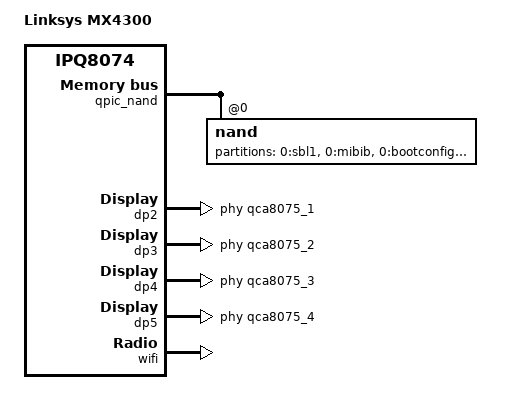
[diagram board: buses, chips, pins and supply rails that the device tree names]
// SPDX-License-Identifier: GPL-2.0-or-later OR MIT

/dts-v1/;

#include "ipq8174-mx4x00.dtsi"

/ {
	model = "Linksys MX4300";
	compatible = "linksys,mx4300", "qcom,ipq8074";

	chosen {
		/*
		In the kernel command line, replace the first occurence of bootargs-find-X with bootargs-replace-X.
		If bootargs-exact-match-X is set to "y", then replacement happens only if the kernel command line
		is identical to bootargs-find-X.
		*/
		bootargs-find-1 = "ubi.mtd=22,2048";
		bootargs-replace-1 = "ubi.mtd=22,4096";

		bootargs-find-2 = "ubi.mtd=24,2048";
		bootargs-replace-2 = "ubi.mtd=24,4096";
	};

	aliases {
		label-mac-device = &dp2;
	};
};

&qpic_nand {
	status = "okay";

	partitions {
		status = "disabled";
	};

	nand@0 {
		reg = <0>;

		nand-ecc-strength = <4>;
		nand-ecc-step-size = <512>;
		nand-bus-width = <8>;

		partitions {
			compatible = "fixed-partitions";
			#address-cells = <1>;
			#size-cells = <1>;

			partition@0 {
				label = "0:sbl1";
				reg = <0x00000000 0x00100000>;
				read-only;
			};

			partition@100000 {
				label = "0:mibib";
				reg = <0x00100000 0x00100000>;
				read-only;
			};

			partition@200000 {
				label = "0:bootconfig";
				reg = <0x00200000 0x00080000>;
				read-only;
			};

			partition@280000 {
				label = "0:bootconfig1";
				reg = <0x00280000 0x00080000>;
				read-only;
			};

			partition@300000 {
				label = "0:qsee";
				reg = <0x00300000 0x00300000>;
				read-only;
			};

			partition@600000 {
				label = "0:qsee_1";
				reg = <0x00600000 0x00300000>;
				read-only;
			};

			partition@900000 {
				label = "0:devcfg";
				reg = <0x00900000 0x00080000>;
				read-only;
			};

			partition@980000 {
				label = "0:devcfg_1";
				reg = <0x00980000 0x00080000>;
				read-only;
			};

			partition@a00000 {
				label = "0:apdp";
				reg = <0x00a00000 0x00080000>;
				read-only;
			};

			partition@a80000 {
				label = "0:apdp_1";
				reg = <0x00a80000 0x00080000>;
				read-only;
			};

			partition@b00000 {
				label = "0:rpm";
				reg = <0x00b00000 0x00080000>;
				read-only;
			};

			partition@b80000 {
				label = "0:rpm_1";
				reg = <0x00b80000 0x00080000>;
				read-only;
			};

			partition@c00000 {
				label = "0:cdt";
				reg = <0x00c00000 0x00080000>;
				read-only;
			};

			partition@c80000 {
				label = "0:cdt_1";
				reg = <0x00c80000 0x00080000>;
				read-only;
			};

			partition@d00000 {
				label = "0:appsblenv";
				reg = <0x00d00000 0x00080000>;
			};

			partition@d80000 {
				label = "0:appsbl";
				reg = <0x00d80000 0x00100000>;
				read-only;
			};

			partition@e80000 {
				label = "0:appsbl_1";
				reg = <0x00e80000 0x00100000>;
				read-only;
			};

			partition@f80000 {
				label = "0:art";
				reg = <0x00f80000 0x00080000>;
				read-only;
			};

			partition@1000000 {
				label = "u_env";
				reg = <0x01000000 0x00100000>;
			};

			partition@1100000 {
				label = "s_env";
				reg = <0x01100000 0x00100000>;
			};

			partition@1200000 {
				label = "devinfo";
				reg = <0x01200000 0x00040000>;
				read-only;

				nvmem-layout {
					compatible = "ascii-eq-delim-env";

					hw_mac_addr: hw_mac_addr {
						compatible = "mac-base";
						#nvmem-cell-cells = <1>;
					};
				};
			};

			partition@1240000 {
				label = "kernel";
				reg = <0x01240000 0x0af40000>;
			};

			partition@1a40000 {
				label = "rootfs";
				reg = <0x01a40000 0x0a740000>;
			};

			partition@c180000 {
				label = "alt_kernel";
				reg = <0x0c180000 0x0af40000>;
			};

			partition@c980000 {
				label = "alt_rootfs";
				reg = <0x0c980000 0x0a740000>;
			};

			partition@170c0000 {
				label = "sysdiag";
				reg = <0x170c0000 0x00400000>;
				read-only;
			};

			partition@174c0000 {
				label = "0:ethphyfw";
				reg = <0x174c0000 0x00080000>;
				read-only;
			};

			partition@17540000 {
				label = "syscfg";
				reg = <0x17540000 0x079c0000>;
				read-only;
			};

			partition@1ef00000 {
				label = "secured_store";
				reg = <0x1ef00000 0x00400000>;
				read-only;
			};

			partition@1f300000 {
				label = "0:wififw";
				reg = <0x1f300000 0x01900000>;
				read-only;
			};

			partition@20c00000 {
				label = "app2_data";
				reg = <0x20c00000 0x16180000>;
				read-only;
			};

			partition@36d80000 {
				label = "app2";
				reg = <0x36d80000 0x09280000>;
				read-only;
			};
		};
	};
};

&dp2 {
	status = "okay";
	phy-handle = <&qca8075_1>;
	label = "wan";
	nvmem-cells = <&hw_mac_addr 0>;
	nvmem-cell-names = "mac-address";
};

&dp3 {
	status = "okay";
	phy-handle = <&qca8075_2>;
	label = "lan3";
	nvmem-cells = <&hw_mac_addr 0>;
	nvmem-cell-names = "mac-address";
};

&dp4 {
	status = "okay";
	phy-handle = <&qca8075_3>;
	label = "lan2";
	nvmem-cells = <&hw_mac_addr 0>;
	nvmem-cell-names = "mac-address";
};

&dp5 {
	status = "okay";
	phy-handle = <&qca8075_4>;
	label = "lan1";
	nvmem-cells = <&hw_mac_addr 0>;
	nvmem-cell-names = "mac-address";
};

&wifi {
	status = "okay";
	qcom,ath11k-fw-memory-mode = <1>;
	qcom,ath11k-calibration-variant = "Linksys-MX4200v2";
};
